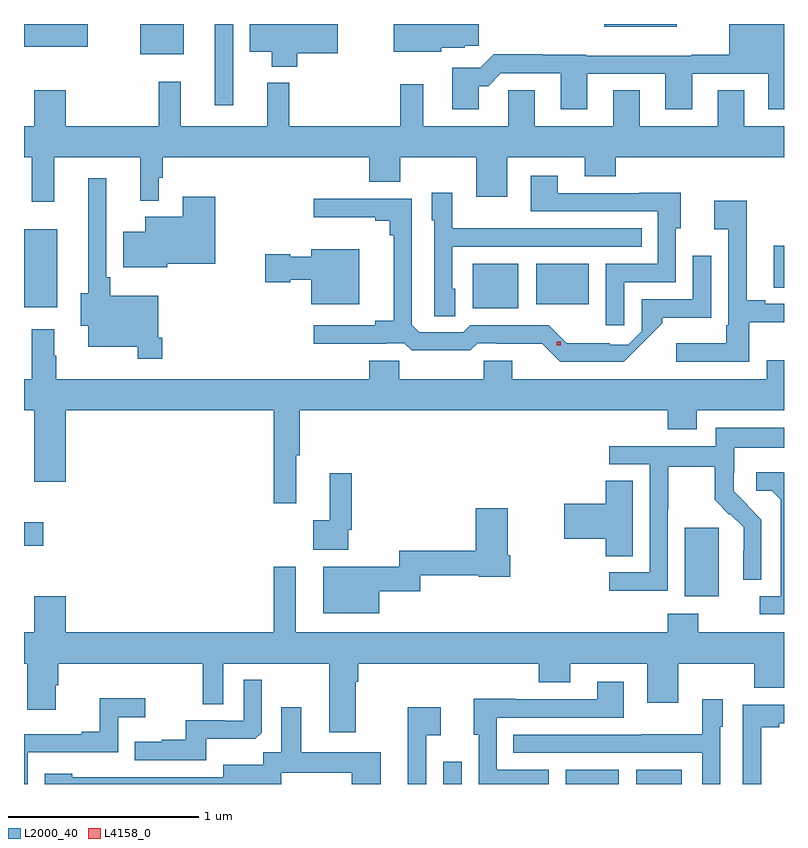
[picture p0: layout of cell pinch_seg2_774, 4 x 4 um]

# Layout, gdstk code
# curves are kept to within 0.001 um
import gdstk
lib = gdstk.Library(unit=1e-6, precision=1e-09)
def R(c, l, rs):  # rectangles x0, y0, x1, y1
    for r in rs: c.add(gdstk.rectangle(r[:2], r[2:], *l))
def P(c, l, *ps):  # polygons
    for p in ps: c.add(gdstk.Polygon(p, *l))
L2000_40 = (2000, 40)
L4158_0 = (4158, 0)

pinch_seg2_774 = lib.new_cell('pinch_seg2_774')
R(pinch_seg2_774, L2000_40, [(730.596,627.022,730.692,627.139), (731.24,627.022,731.518,627.097), (731.612,627.022,731.851,627.097), (731.867,628.01,732.046,628.371), (728.389,628.277,728.491,628.399), (730.751,629.525,730.99,629.761), (728.389,629.531,728.563,629.941), (731.084,629.546,731.362,629.761), (732.335,629.635,732.389,629.854), (729.392,630.594,729.489,631.022), (729.002,630.863,729.229,631.022), (728.389,630.902,728.725,631.022), (731.444,631.007,731.824,631.022)])
P(pinch_seg2_774, L2000_40, [(729.827,630.868),(730.039,630.868),(730.039,631.022),(729.578,631.022),(729.578,630.875),(729.692,630.875),(729.692,630.797),(729.827,630.797)],
  [(730.783,630.695),(730.832,630.695),(730.899,630.762),(731.213,630.762),(731.213,630.573),(731.353,630.573),(731.353,630.759),(731.765,630.759),(731.765,630.573),(731.905,630.573),(731.905,630.759),(732.305,630.759),(732.305,630.573),(732.389,630.573),(732.389,631.022),(732.101,631.022),(732.101,630.86),(731.901,630.86),(731.901,630.856),(731.349,630.856),(731.349,630.86),(731.117,630.86),(731.117,630.863),(730.862,630.863),(730.791,630.792),(730.643,630.792),(730.643,630.573),(730.783,630.573)],
  [(730.584,630.896),(730.71,630.896),(730.71,630.907),(730.783,630.907),(730.783,631.022),(730.334,631.022),(730.334,630.875),(730.584,630.875)],
  [(728.549,630.32),(729.002,630.32),(729.002,630.092),(729.099,630.092),(729.099,630.213),(729.119,630.213),(729.119,630.32),(730.205,630.32),(730.205,630.192),(730.369,630.192),(730.369,630.32),(730.769,630.32),(730.769,630.114),(730.933,630.114),(730.933,630.32),(731.339,630.32),(731.339,630.221),(731.503,630.221),(731.503,630.32),(732.389,630.32),(732.389,630.484),(732.181,630.484),(732.181,630.674),(732.041,630.674),(732.041,630.484),(731.629,630.484),(731.629,630.674),(731.489,630.674),(731.489,630.484),(731.077,630.484),(731.077,630.674),(730.938,630.674),(730.938,630.484),(730.489,630.484),(730.489,630.706),(730.368,630.706),(730.368,630.484),(729.785,630.484),(729.785,630.712),(729.668,630.712),(729.668,630.484),(729.215,630.484),(729.215,630.718),(729.097,630.718),(729.097,630.484),(728.608,630.484),(728.608,630.673),(728.444,630.673),(728.444,630.484),(728.389,630.484),(728.389,630.32),(728.431,630.32),(728.431,630.087),(728.549,630.087)],
  [(731.547,629.664),(731.82,629.664),(731.82,629.946),(731.845,629.946),(731.845,630.134),(731.627,630.134),(731.627,630.132),(731.197,630.132),(731.197,630.223),(731.057,630.223),(731.057,630.036),(731.724,630.036),(731.724,629.76),(731.451,629.76),(731.451,629.436),(731.547,629.436)],
  [(729.116,629.371),(729.096,629.371),(729.096,629.593),(728.843,629.593),(728.843,629.689),(728.823,629.689),(728.823,630.211),(728.726,630.211),(728.726,629.606),(728.687,629.606),(728.687,629.435),(728.726,629.435),(728.726,629.324),(728.988,629.324),(728.988,629.259),(729.116,629.259)],
  [(730.66,629.628),(730.644,629.628),(730.644,629.85),(731.639,629.85),(731.639,629.946),(730.961,629.946),(730.961,629.947),(730.644,629.947),(730.644,630.133),(730.535,630.133),(730.535,629.988),(730.548,629.988),(730.548,629.485),(730.66,629.485)],
  [(729.144,629.759),(729.395,629.759),(729.395,630.112),(729.224,630.112),(729.224,630.007),(729.026,630.007),(729.026,629.929),(728.912,629.929),(728.912,629.741),(729.144,629.741)],
  [(731.748,629.447),(731.748,629.477),(732.006,629.477),(732.006,629.803),(731.91,629.803),(731.91,629.574),(731.64,629.574),(731.64,629.406),(731.568,629.334),(731.471,629.334),(731.471,629.342),(731.246,629.342),(731.151,629.436),(730.737,629.436),(730.701,629.4),(730.47,629.4),(730.431,629.439),(730.431,630.102),(729.915,630.102),(729.915,630.005),(730.238,630.005),(730.238,629.986),(730.315,629.986),(730.315,629.909),(730.334,629.909),(730.334,629.459),(730.238,629.459),(730.238,629.436),(729.915,629.436),(729.915,629.339),(730.295,629.339),(730.295,629.343),(730.389,629.343),(730.429,629.304),(730.737,629.304),(730.776,629.343),(730.876,629.343),(730.876,629.339),(731.117,629.339),(731.211,629.244),(731.545,629.244)],
  [(732.205,629.453),(732.389,629.453),(732.389,629.55),(732.289,629.55),(732.289,629.569),(732.193,629.569),(732.193,630.091),(732.021,630.091),(732.021,629.942),(732.096,629.942),(732.096,629.437),(732.084,629.437),(732.084,629.341),(731.823,629.341),(731.823,629.244),(732.205,629.244)],
  [(730.153,629.836),(729.902,629.836),(729.902,629.797),(729.789,629.797),(729.789,629.81),(729.66,629.81),(729.66,629.663),(729.789,629.663),(729.789,629.675),(729.902,629.675),(729.902,629.546),(730.153,629.546)],
  [(729.821,628.752),(729.839,628.752),(729.839,628.988),(731.777,628.988),(731.777,628.889),(731.929,628.889),(731.929,628.988),(732.389,628.988),(732.389,629.251),(732.299,629.251),(732.299,629.152),(730.96,629.152),(730.96,629.25),(730.81,629.25),(730.81,629.152),(730.365,629.152),(730.365,629.25),(730.205,629.25),(730.205,629.152),(728.56,629.152),(728.56,629.276),(728.548,629.276),(728.548,629.416),(728.431,629.416),(728.431,629.152),(728.389,629.152),(728.389,628.988),(728.444,628.988),(728.444,628.614),(728.608,628.614),(728.608,628.988),(729.703,628.988),(729.703,628.5),(729.821,628.5)],
  [(731.778,628.468),(731.781,628.468),(731.781,628.692),(732.025,628.692),(732.025,628.517),(732.102,628.44),(732.105,628.443),(732.176,628.373),(732.176,628.25),(732.174,628.25),(732.174,628.096),(732.27,628.096),(732.27,628.414),(732.124,628.562),(732.124,628.659),(732.126,628.659),(732.126,628.793),(732.389,628.793),(732.389,628.897),(732.03,628.897),(732.03,628.8),(731.469,628.8),(731.469,628.704),(731.682,628.704),(731.682,628.137),(731.469,628.137),(731.469,628.039),(731.778,628.039)],
  [(732.389,628.66),(732.386,628.663),(732.243,628.663),(732.243,628.566),(732.324,628.566),(732.371,628.519),(732.371,628.011),(732.261,628.011),(732.261,627.915),(732.389,627.915)],
  [(730.095,628.36),(730.115,628.36),(730.115,628.657),(729.998,628.657),(729.998,628.409),(729.912,628.409),(729.912,628.256),(730.095,628.256)],
  [(731.593,628.619),(731.45,628.619),(731.45,628.496),(731.232,628.496),(731.232,628.313),(731.45,628.313),(731.45,628.222),(731.593,628.222)],
  [(730.258,628.037),(730.474,628.037),(730.474,628.122),(730.782,628.122),(730.782,628.114),(730.949,628.114),(730.949,628.225),(730.936,628.225),(730.936,628.474),(730.766,628.474),(730.766,628.25),(730.365,628.25),(730.365,628.165),(729.965,628.165),(729.965,627.92),(730.258,627.92)],
  [(730.135,627.56),(730.148,627.56),(730.148,627.656),(731.099,627.656),(731.099,627.557),(731.263,627.557),(731.263,627.656),(731.669,627.656),(731.669,627.45),(731.833,627.45),(731.833,627.656),(732.233,627.656),(732.233,627.528),(732.389,627.528),(732.389,627.82),(731.937,627.82),(731.937,627.919),(731.777,627.919),(731.777,627.82),(729.82,627.82),(729.82,628.165),(729.703,628.165),(729.703,627.82),(728.608,627.82),(728.608,628.009),(728.444,628.009),(728.444,627.82),(728.389,627.82),(728.389,627.656),(728.405,627.656),(728.405,627.414),(728.557,627.414),(728.557,627.543),(728.57,627.543),(728.57,627.656),(729.33,627.656),(729.33,627.442),(729.438,627.442),(729.438,627.656),(729.995,627.656),(729.995,627.294),(730.135,627.294)],
  [(729.349,627.26),(729.607,627.26),(729.639,627.291),(729.639,627.571),(729.546,627.571),(729.546,627.354),(729.446,627.354),(729.446,627.357),(729.239,627.357),(729.239,627.256),(729.115,627.256),(729.115,627.244),(728.971,627.244),(728.971,627.147),(729.349,627.147)],
  [(731.151,627.096),(730.878,627.096),(730.878,627.372),(731.545,627.372),(731.545,627.559),(731.405,627.559),(731.405,627.468),(730.975,627.468),(730.975,627.47),(730.757,627.47),(730.757,627.282),(730.782,627.282),(730.782,627.022),(731.151,627.022)],
  [(728.409,627.189),(728.886,627.189),(728.886,627.374),(729.028,627.374),(729.028,627.473),(728.788,627.473),(728.788,627.298),(728.693,627.298),(728.693,627.285),(728.389,627.285),(728.389,627.022),(728.409,627.022)],
  [(732.054,627.324),(732.067,627.324),(732.067,627.469),(731.958,627.469),(731.958,627.283),(731.641,627.283),(731.641,627.282),(730.963,627.282),(730.963,627.186),(731.958,627.186),(731.958,627.022),(732.054,627.022)],
  [(732.269,627.322),(732.364,627.322),(732.364,627.342),(732.389,627.342),(732.389,627.438),(732.171,627.438),(732.171,627.022),(732.269,627.022)],
  [(730.506,627.278),(730.582,627.278),(730.582,627.427),(730.409,627.427),(730.409,627.022),(730.506,627.022)],
  [(729.744,627.08),(730.115,627.08),(730.115,627.022),(730.267,627.022),(730.267,627.19),(729.847,627.19),(729.847,627.427),(729.743,627.427),(729.743,627.188),(729.648,627.188),(729.648,627.124),(729.437,627.124),(729.437,627.057),(728.879,627.057),(728.879,627.058),(728.643,627.058),(728.643,627.076),(728.499,627.076),(728.499,627.022),(729.744,627.022)])
R(pinch_seg2_774, L4158_0, [(731.194,629.33,731.214,629.35)])

lib.write_gds('pinch_seg2_774.gds')
